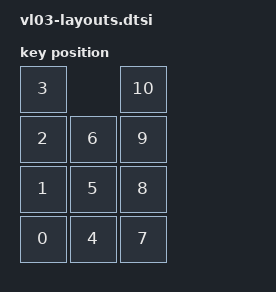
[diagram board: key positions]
#include <physical_layouts.dtsi>

/ {
    physical_layout_vl03: physical_layout_vl03 {
        compatible = "zmk,physical-layout";
        display-name = "VL03";
        // Coordinates reflect the case rotated 90 degrees CCW from the
        // original wiring layout (see config/vl03.keymap) - position order
        // (and therefore the matrix wiring) is unchanged, only where each
        // key visually sits is rotated, so ZMK Studio's editor matches the
        // physical device.
        keys  //                     w   h    x    y     rot    rx    ry
            = <&key_physical_attrs 100 100    0  300       0     0   300>
            , <&key_physical_attrs 100 100    0  200       0     0   200>
            , <&key_physical_attrs 100 100    0  100       0     0   100>
            , <&key_physical_attrs 100 100    0    0       0     0     0>
            , <&key_physical_attrs 100 100  100  300       0   100   300>
            , <&key_physical_attrs 100 100  100  200       0   100   200>
            , <&key_physical_attrs 100 100  100  100       0   100   100>
            , <&key_physical_attrs 100 100  200  300       0   200   300>
            , <&key_physical_attrs 100 100  200  200       0   200   200>
            , <&key_physical_attrs 100 100  200  100       0   200   100>
            , <&key_physical_attrs 100 100  200    0       0   200     0>
            ;
    };
};
